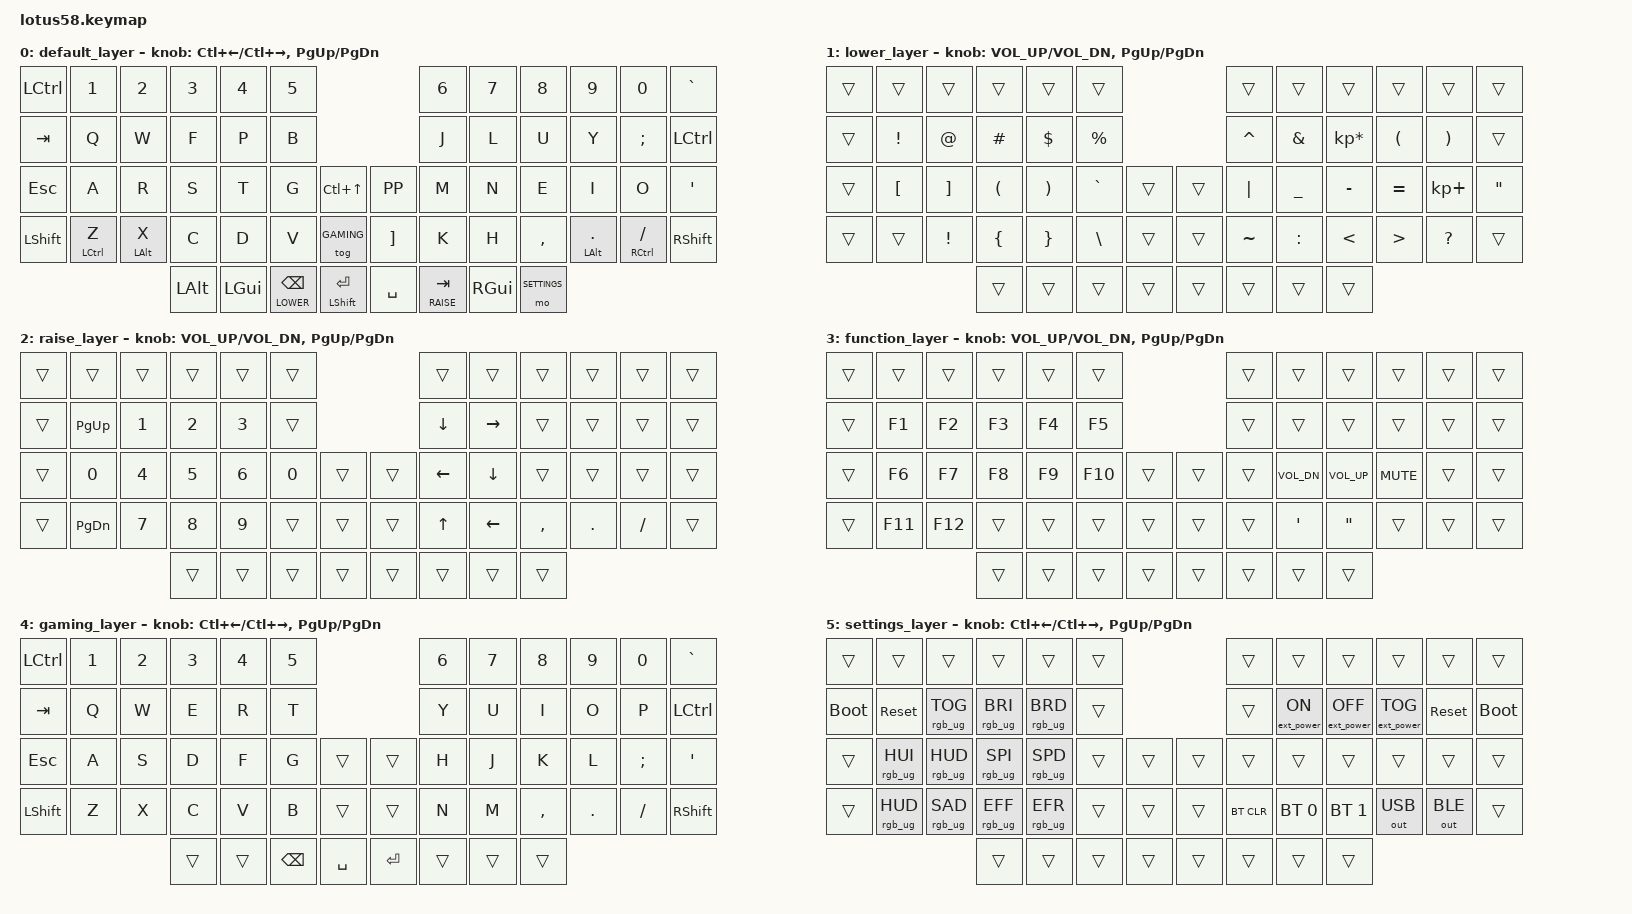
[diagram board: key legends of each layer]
/*
 * Copyright (c) 2020 The ZMK Contributors
 *
 * SPDX-License-Identifier: MIT
 */

#include <behaviors.dtsi>
#include <dt-bindings/zmk/keys.h>
#include <dt-bindings/zmk/bt.h>
#include <dt-bindings/zmk/ext_power.h>
#include <dt-bindings/zmk/rgb.h>
#include <dt-bindings/zmk/outputs.h>

#define DEFAULT  0
#define LOWER    1 // Symbols
#define RAISE    2 // Numbers + Navigation
#define FUNCTION 3 // Function + Media Controls
#define GAMING   4
#define SETTINGS 5

/ {
    behaviors {
        bm: bottom_row_mods {
            compatible = "zmk,behavior-hold-tap";
            label = "BOTTOM_ROW_MODS";
            #binding-cells = <2>;
            tapping-term-ms = <150>;
            quick-tap-ms = <0>;
            flavor = "tap-preferred";
            bindings = <&kp>, <&kp>;
        };
    };

    conditional_layers {
        compatible = "zmk,conditional-layers";
        tri_layer {
            if-layers = <1 2>;
            then-layer = <3>;
        };
    };

	keymap {
		compatible = "zmk,keymap";

		default_layer {
// ----------------------------------------------------------------------------------------------------------------------------------
// |  CTRL |   1    |   2   |  3  |  4  |     5      |                        |     6     |  7  |    8     |   9   |   0    |   `   |
// |  TAB  |   Q    |   W   |  F  |  P  |     B      |                        |     J     |  L  |    U     |   Y   |   ;    | CTRL  |
// |  ESC  |   A    |   R   |  S  |  T  |     G      |                        |     M     |  N  |    E     |   I   |   O    |   '   |
// | SHIFT | Z/Ctrl | X/ALT |  C  |  D  |     V      |   GAMING    |  |  "]"  |     K     |  H  |    ,     | ./Alt | //Ctrl | SHIFT |
//                          | ALT | GUI | BSPC/LOWER | ENTER/SHIFT |  | SPACE | TAB/RAISE | GUI | SETTINGS |
//
// NOTE: Having backspace with a layer tap is annoying but get's you in the
// habbit of not holding it but using combinations to delete words which works
// great in the long run
			bindings = <
&kp LCTRL &kp N1      &kp N2     &kp N3   &kp N4   &kp N5                                   &kp N6        &kp N7   &kp N8       &kp N9       &kp N0         &kp GRAVE
&kp TAB   &kp Q       &kp W      &kp F    &kp P    &kp B                                    &kp J         &kp L    &kp U        &kp Y        &kp SEMI       &kp LCTRL
&kp ESC   &kp A       &kp R      &kp S    &kp T    &kp G           &kp LC(UP)     &kp K_PP  &kp M         &kp N    &kp E        &kp I        &kp O          &kp SQT
&kp LSHFT &bm LCTRL Z &bm LALT X &kp C    &kp D    &kp V           &tog GAMING    &kp RBKT  &kp K         &kp H    &kp COMMA    &bm LALT DOT &bm RCTRL FSLH &kp RSHFT
                                 &kp LALT &kp LGUI &lt LOWER BSPC  &bm LSHIFT RET &kp SPACE &lt RAISE TAB &kp RGUI &mo SETTINGS
			>;

			sensor-bindings = <&inc_dec_kp LC(LEFT) LC(RIGHT) &inc_dec_kp PG_UP PG_DN>;
		};

		lower_layer {
// -------------------------------------------------------------------------------------------
// |     |     |     |     |     |     |                 |     |     |     |     |     |     |
// |     |  !  |  @  |  #  |  $  |  %  |                 |  ^  |  &  |  *  |  (  |  )  |     |
// |     |  [  |  ]  |  (  |  )  |  `  |                 | "|" |  _  |  -  |  =  |  +  |  "  |
// |     |     |  !  |  {  |  }  |  \  |     |     |     |  ~  |  :  |  <  |  >  |  ?  |     |
//                   |     |     |     |     |     |     |     |     |     | 
			bindings = <
&trans  &trans    &trans    &trans    &trans      &trans                     &trans     &trans          &trans           &trans     &trans       &trans
&trans  &kp EXCL  &kp AT    &kp HASH  &kp DOLLAR  &kp PRCNT                  &kp CARET  &kp AMPS        &kp KP_MULTIPLY  &kp LPAR   &kp RPAR     &trans
&trans  &kp LBKT  &kp RBKT  &kp LPAR  &kp RPAR    &kp GRAVE  &trans  &trans  &kp PIPE   &kp UNDERSCORE  &kp MINUS        &kp EQUAL  &kp KP_PLUS  &kp DQT
&trans  &trans    &kp EXCL  &kp LBRC  &kp RBRC    &kp BSLH   &trans  &trans  &kp TILDE  &kp COLON       &kp LT           &kp GT     &kp QMARK    &trans
                            &trans    &trans      &trans     &trans  &trans  &trans     &trans          &trans
			>;

      sensor-bindings = <&inc_dec_kp C_VOL_UP C_VOL_DN &inc_dec_kp PG_UP PG_DN>;
		};

		raise_layer {
// --------------------------------------------------------------------------------------------
// |     |      |     |     |     |     |                 |     |     |     |     |     |     |
// |     | PGUP |  1  |  2  |  3  |  x  |                 |  v  |  -> |  x  |  x  |  x  |     |
// |     |  0   |  4  |  5  |  6  |  0  |                 |     |  x  |  x  |  x  |  x  |     |
// |     | PGDN |  7  |  8  |  9  |     |     |     |     |  ^  |  <- |  ,  |  .  |  /  |     |
//                    |     |     |     |     |     |     |     |     |     |
//
// Note: it is helpful to use trans so *, (, ), -, _, =, +, and % can be used in this
// layer too, as they are frequently used symbols with the numbers.
// x specifie that these should not be mapped
			bindings = <
&trans    &trans     &trans  &trans  &trans  &trans                  &trans    &trans     &trans     &trans     &trans    &trans
&trans    &kp PG_UP  &kp N1  &kp N2  &kp N3  &trans                  &kp DOWN  &kp RIGHT  &trans     &trans     &trans    &trans
&trans    &kp N0     &kp N4  &kp N5  &kp N6  &kp N0  &trans  &trans  &kp LEFT  &kp DOWN   &trans     &trans     &trans    &trans
&trans    &kp PG_DN  &kp N7  &kp N8  &kp N9  &trans  &trans  &trans  &kp UP    &kp LEFT   &kp COMMA  &kp DOT    &kp FSLH  &trans   
                             &trans  &trans  &trans  &trans  &trans  &trans    &trans     &trans                          
			>;

			sensor-bindings = <&inc_dec_kp C_VOL_UP C_VOL_DN &inc_dec_kp PG_UP PG_DN>;
		};

		function_layer {
// ----------------------------------------------------------------------------------------------
// |     |     |     |     |     |     |                 |     |      |      |      |     |     |
// |     | F1  | F2  | F3  | F4  | F5  |                 |     |      |      |      |     |     |
// |     | F6  | F7  | F8  | F9  | F10 |                 |     | VOLv | MUTE | VOL^ |     |     |
// |     | F11 | F12 |     |     |     |     |     |     |     |   '  |   "  |      |     |     |
//                   |     |     |     |     |     |     |     |      |      |
// Adding sqt and dqt here as the last row on right side sometimes does not work 
// This is temprory (hopefully) and I will find a fix for this soon-ish.
			bindings = <
&trans  &trans   &trans   &trans  &trans  &trans                   &trans  &trans        &trans        &trans      &trans  &trans
&trans  &kp F1   &kp F2   &kp F3  &kp F4  &kp F5                   &trans  &trans        &trans        &trans      &trans  &trans
&trans  &kp F6   &kp F7   &kp F8  &kp F9  &kp F10  &trans  &trans  &trans  &kp C_VOL_DN  &kp C_VOL_UP  &kp C_MUTE  &trans  &trans
&trans  &kp F11  &kp F12  &trans  &trans  &trans   &trans  &trans  &trans  &kp SQT       &kp DQT       &trans      &trans  &trans   
                          &trans  &trans  &trans   &trans  &trans  &trans  &trans        &trans
			>;

			sensor-bindings = <&inc_dec_kp C_VOL_UP C_VOL_DN &inc_dec_kp PG_UP PG_DN>;
		};

        gaming_layer {
// ---------------------------------------------------------------------------------------------
// |  CTRL | 1 | 2 |  3  |  4  |   5   |                  |   6   |  7   |  8  | 9 | 0 |   `   |
// |  TAB  | Q | W |  E  |  R  |   T   |                  |   Y   |  U   |  I  | O | P | CTRL  |
// |  ESC  | A | S |  D  |  F  |   G   |                  |   H   |  J   |  K  | L | ; |   '   |
// | SHIFT | Z | X |  C  |  V  |   B   |       |  |       |   N   |  M   |  ,  | . | / | SHIFT |
//                 |     |     | BSPC  | SPACE |  | ENTER |       |      |     |
			bindings = <
&kp LCTRL &kp N1 &kp N2 &kp N3 &kp N4 &kp N5                     &kp N6 &kp N7 &kp N8    &kp N9  &kp N0   &kp GRAVE
&kp TAB   &kp Q  &kp W  &kp E  &kp R  &kp T                      &kp Y  &kp U  &kp I     &kp O   &kp P    &kp LCTRL
&kp ESC   &kp A  &kp S  &kp D  &kp F  &kp G    &trans    &trans  &kp H  &kp J  &kp K     &kp L   &kp SEMI &kp SQT
&kp LSHFT &kp Z  &kp X  &kp C  &kp V  &kp B    &trans    &trans  &kp N  &kp M  &kp COMMA &kp DOT &kp FSLH &kp RSHFT
                        &trans &trans &kp BSPC &kp SPACE &kp RET &trans &trans &trans
			>;

			sensor-bindings = <&inc_dec_kp LC(LEFT) LC(RIGHT) &inc_dec_kp PG_UP PG_DN>;
		};

        settings_layer {
// -------------------------------------------------------------------------------------------------------
// |                  |       |   |     |       |  |      |  |      |     |   |       |                  |
// | bootloader reset | reset |                 |  |      |  | Power Contrlos | reset | bootloader reset |
// |                  |    Underglow Controls   |  |      |  | Backlight Controls     |                  |
// |                  |                         |  |  | | |  | Bluetooth Controls     |                  |
//                               |     |     |  |  |  | | |  |     |
			bindings = <
&trans      &trans              &trans          &trans          &trans          &trans               &trans     &trans           &trans            &trans            &trans           &trans
&bootloader &sys_reset          &rgb_ug RGB_TOG &rgb_ug RGB_BRI &rgb_ug RGB_BRD &trans               &trans     &ext_power EP_ON &ext_power EP_OFF &ext_power EP_TOG &sys_reset       &bootloader
&trans      &rgb_ug RGB_HUI     &rgb_ug RGB_HUD &rgb_ug RGB_SPI &rgb_ug RGB_SPD &trans &trans &trans &trans     &trans           &trans            &trans            &trans           &trans
&trans      &rgb_ug RGB_HUD     &rgb_ug RGB_SAD &rgb_ug RGB_EFF &rgb_ug RGB_EFR &trans &trans &trans &bt BT_CLR &bt BT_SEL 0     &bt BT_SEL 1      &out OUT_USB      &out OUT_BLE     &trans
                                            &trans          &trans          &trans &trans &trans &trans     &trans           &trans
			>;

			sensor-bindings = <&inc_dec_kp LC(LEFT) LC(RIGHT) &inc_dec_kp PG_UP PG_DN>;
		};
	};
};
